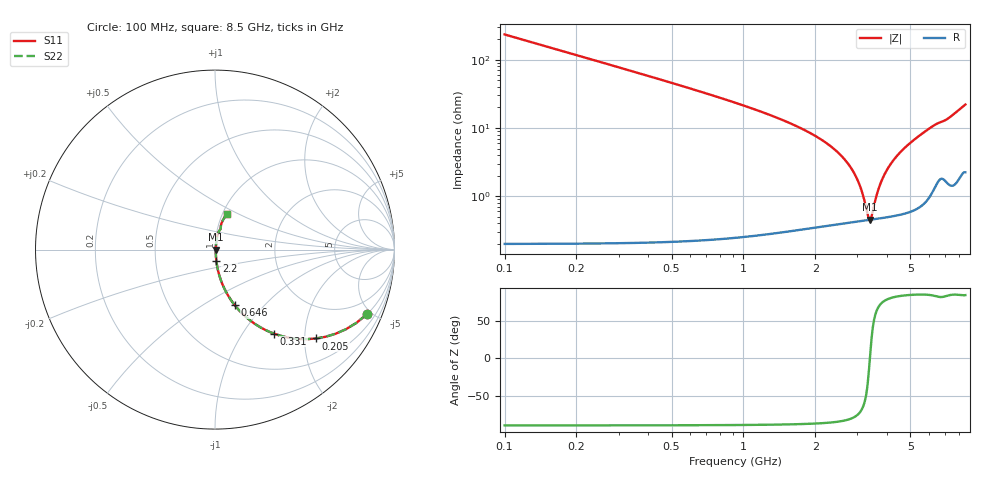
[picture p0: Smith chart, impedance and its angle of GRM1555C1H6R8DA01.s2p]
!Murata Part Number: GRM1555C1H6R8DA01
!These Parameters are Measured in Series Mode Connection
!Data Generated on Mar 30, 2021
!  o--ll--o
!Port1  Port2
!  o------o
!Operation Temp=25[degC], DC Bias Voltage=0[V]
!Freq. Start=100[MHz] Stop=9[GHz] 401[Steps]
# Hz S RI R 50
!Freq.(Hz) S11(Real) S11(Imag) S21(Real) S21(Imag) S12(Real) S12(Imag) S22(Real) S22(Imag)
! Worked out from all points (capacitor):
!   401 points, 100 MHz to 8.5 GHz, reference 50 ohm
!   read as one part in series: C = 6.8 pF near 142 MHz
!   lowest |Z| = 453 mohm at 3.376 GHz (marker M1)
!   series resonance near 3.385 GHz, so ESL is about 330 pH
!   S11 on the Smith chart (normalised r, x): 100 MHz: 1.00, -4.68; 205 MHz: 1.00, -2.27; 331 MHz: 1.00, -1.40; 646 MHz: 1.00, -0.70; 2.2 GHz: 1.01, -0.12; 8.5 GHz: 1.04, +0.44
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1e8  0.8452 -0.3613  0.1548 0.3613  0.1548 0.3613  0.8452 -0.3613
2.05e8  0.5639 -0.495  0.4361 0.495  0.4361 0.495  0.5639 -0.495
3.31e8  0.3295 -0.4686  0.6705 0.4686  0.6705 0.4686  0.3295 -0.4686
4.57e8  0.2028 -0.3999  0.7972 0.3999  0.7972 0.3999  0.2028 -0.3999
6.46e8  0.1101 -0.3099  0.8899 0.3099  0.8899 0.3099  0.1101 -0.3099
1.003e9  0.0455 -0.2026  0.9545 0.2026  0.9545 0.2026  0.0455 -0.2026
1.507e9  0.0182 -0.122  0.9818 0.122  0.9818 0.122  0.0182 -0.122
2.2e9  0.0074 -0.0611  0.9926 0.0611  0.9926 0.0611  0.0074 -0.0611
2.62e9  0.00526 -0.0359  0.9947 0.0359  0.9947 0.0359  0.00526 -0.0359
2.914e9  0.00462 -0.0209  0.9954 0.0209  0.9954 0.0209  0.00462 -0.0209
3.103e9  0.00446 -0.0122  0.9955 0.0122  0.9955 0.0122  0.00446 -0.0122
3.313e9  0.00446 -0.00302  0.9955 0.00302  0.9955 0.00302  0.00446 -0.00302
3.376e9  0.00449 -0.000375  0.9955 0.000375  0.9955 0.000375  0.00449 -0.000375
3.439e9  0.00454 0.00223  0.9955 -0.00223  0.9955 -0.00223  0.00454 0.00223
3.628e9  0.00475 0.0098  0.9952 -0.0098  0.9952 -0.0098  0.00475 0.0098
3.796e9  0.00503 0.0163  0.995 -0.0163  0.995 -0.0163  0.00503 0.0163
4.027e9  0.00555 0.0249  0.9944 -0.0249  0.9944 -0.0249  0.00555 0.0249
4.3e9  0.00635 0.0348  0.9936 -0.0348  0.9936 -0.0348  0.00635 0.0348
4.888e9  0.00883 0.0555  0.9912 -0.0555  0.9912 -0.0555  0.00883 0.0555
5.707e9  0.015 0.0844  0.985 -0.0844  0.985 -0.0844  0.015 0.0844
7.114e9  0.0322 0.1271  0.9678 -0.1271  0.9678 -0.1271  0.0322 0.1271
8.5e9  0.065 0.2006  0.935 -0.2006  0.935 -0.2006  0.065 0.2006
